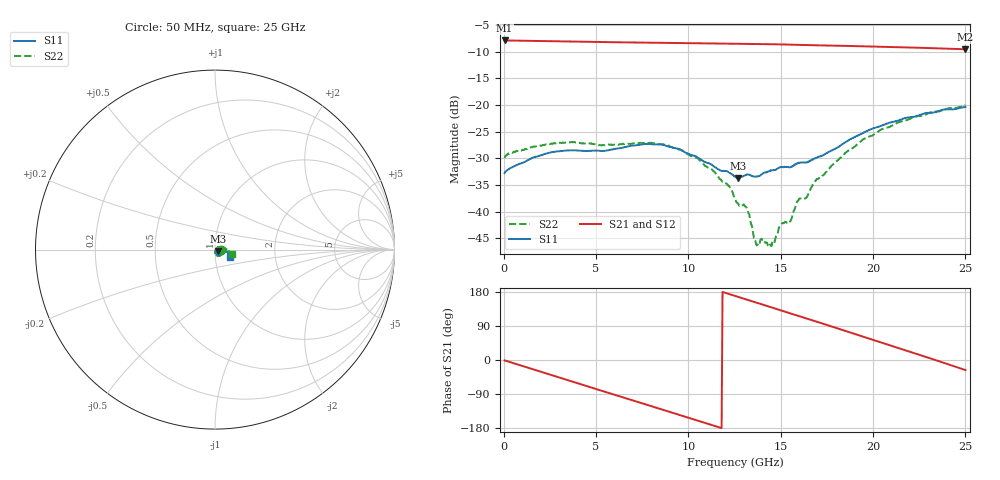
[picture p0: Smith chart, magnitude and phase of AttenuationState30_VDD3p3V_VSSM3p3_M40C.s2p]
! Device: ADRF5703
! Frequency: 9kHz – 20 GHz
! Ports:
! ATTIN  = Port 1
! ATTOUT = Port 2
! Attenuation bit: 30
! Attenuation state: 7.5dB
! VDD = VDD3
! Temperature = 3V_V
! Data: Data was collected using a calibrated network analyzer.
! The reference plane is the package pins of ADRF5703.
! Note: Analog Devices supplies this data as a sample of measured data for this product.
! Your particular data for this product may vary.
! Analog Devices reserves the right to change this data at anytime
# GHZ S DB R 50
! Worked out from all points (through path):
!   500 points, 50 MHz to 25 GHz, reference 50 ohm
!   highest |S21| = -7.92 dB at 50 MHz (marker M1); lowest = -9.6 dB at 25 GHz (marker M2)
!   group delay of S21, straight-line fit = 42.7 ps
!   lowest |S11| = -33.7 dB at 12.7 GHz (marker M3), VSWR 1.04, Z = 51.9 - j0.865 ohm
!   |S11| at or under -10 dB: start of sweep to end of sweep
!   |S22| runs from -46.5 to -20.1 dB; largest |S21 - S12| = 0.007
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0.05  -32.78 -15.6  -7.92 -1.0  -7.87 -1.1  -29.94 -4.4
2.35  -29.09 3.5  -8.06 -36.5  -8.01 -36.5  -27.48 -7.7
4.25  -28.61 -10.3  -8.17 -65.2  -8.12 -65.5  -27.22 -24.9
6.25  -28.15 -17.5  -8.27 -95.5  -8.21 -95.7  -27.47 -37.1
8.4  -27.43 -32.8  -8.35 -128.0  -8.29 -128.3  -27.37 -54.4
10.55  -30.00 -41.2  -8.44 -160.6  -8.39 -161.1  -30.17 -73.8
12.15  -32.56 -31.8  -8.52 174.9  -8.48 174.4  -35.13 -79.2
12.55  -33.55 -24.1  -8.54 168.8  -8.50 168.2  -37.75 -81.1
12.7  -33.69 -23.8  -8.55 166.5  -8.51 166.0  -38.51 -86.7
13.2  -33.03 -16.5  -8.57 158.9  -8.54 158.3  -39.78 -73.4
13.65  -33.44 -7.1  -8.60 151.9  -8.56 151.4  -45.87 -69.7
14.4  -32.44 -1.7  -8.63 140.4  -8.61 139.8  -46.00 -0.1
14.6  -32.25 -1.0  -8.64 137.3  -8.62 136.8  -45.59 -4.9
15  -31.62 0.2  -8.66 131.1  -8.64 130.6  -42.59 24.3
15.5  -31.72 -1.6  -8.71 123.3  -8.68 122.8  -41.93 32.4
15.95  -30.85 0.4  -8.76 116.3  -8.71 115.9  -37.93 34.4
16.35  -30.85 2.3  -8.80 110.3  -8.74 109.7  -37.51 38.8
16.7  -30.22 3.8  -8.82 104.9  -8.77 104.2  -35.26 32.7
18.6  -26.79 4.7  -8.95 75.3  -8.92 74.5  -28.74 23.9
20.85  -23.38 -9.6  -9.15 40.0  -9.12 39.0  -24.19 1.9
22.95  -21.51 -18.4  -9.34 6.7  -9.35 5.7  -21.66 -9.8
25  -20.41 -25.5  -9.58 -26.5  -9.57 -27.4  -20.07 -15.8
